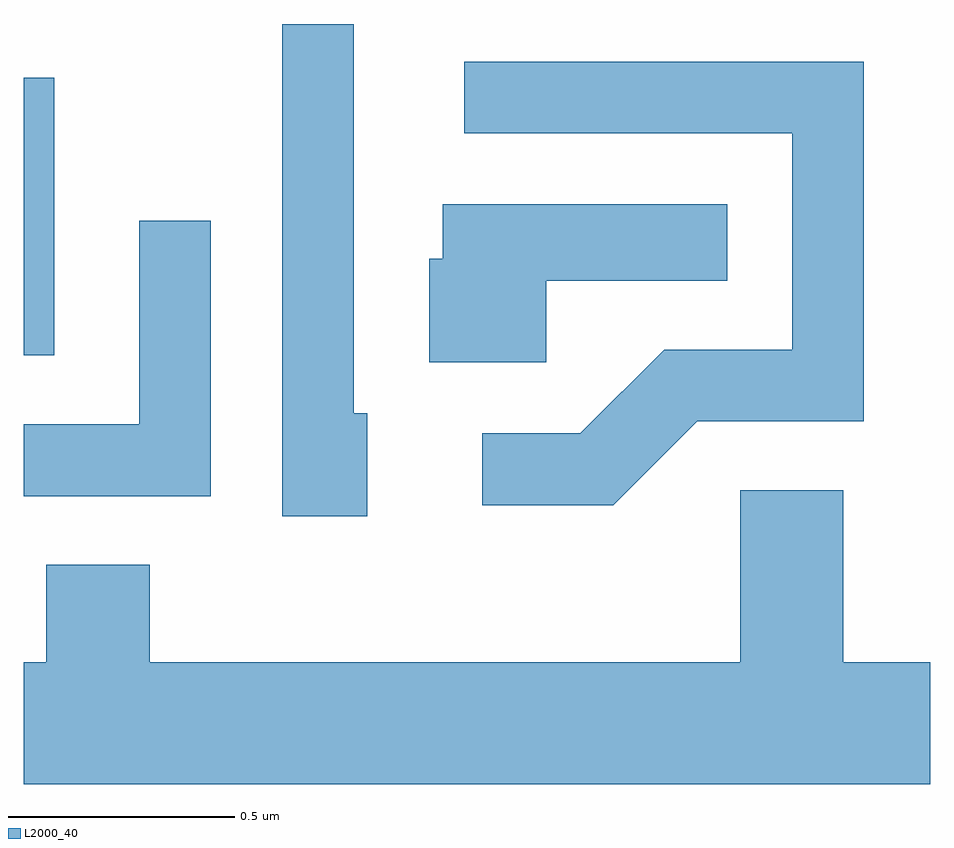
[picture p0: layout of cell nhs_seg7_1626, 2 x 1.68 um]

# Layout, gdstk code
import gdstk
lib = gdstk.Library(unit=1e-6, precision=1e-09)
def R(c, l, rs):  # rectangles x0, y0, x1, y1
    for r in rs: c.add(gdstk.rectangle(r[:2], r[2:], *l))
def P(c, l, *ps):  # polygons
    for p in ps: c.add(gdstk.Polygon(p, *l))
L2000_40 = (2000, 40)

nhs_seg7_1626 = lib.new_cell('nhs_seg7_1626')
R(nhs_seg7_1626, L2000_40, [(196.611,1788.521,196.679,1789.134)])
P(nhs_seg7_1626, L2000_40, [(197.369,1788.394),(197.339,1788.394),(197.339,1789.252),(197.181,1789.252),(197.181,1788.166),(197.369,1788.166)],
  [(198.097,1788.376),(198.464,1788.376),(198.464,1789.169),(197.583,1789.169),(197.583,1789.011),(198.306,1789.011),(198.306,1788.534),(198.024,1788.534),(197.839,1788.349),(197.623,1788.349),(197.623,1788.191),(197.912,1788.191)],
  [(197.764,1788.686),(198.163,1788.686),(198.163,1788.854),(197.536,1788.854),(197.536,1788.734),(197.506,1788.734),(197.506,1788.506),(197.764,1788.506)],
  [(197.024,1788.818),(196.866,1788.818),(196.866,1788.369),(196.611,1788.369),(196.611,1788.211),(197.024,1788.211)],
  [(198.611,1787.844),(198.419,1787.844),(198.419,1788.224),(198.191,1788.224),(198.191,1787.844),(196.889,1787.844),(196.889,1788.059),(196.661,1788.059),(196.661,1787.844),(196.611,1787.844),(196.611,1787.576),(198.611,1787.576)])

lib.write_gds('nhs_seg7_1626.gds')
